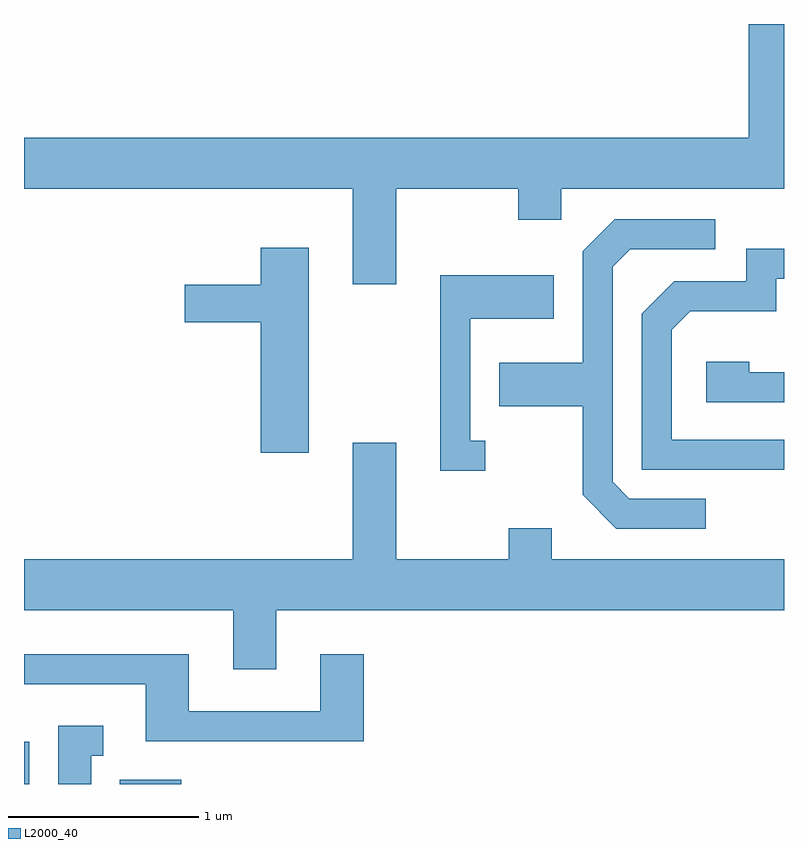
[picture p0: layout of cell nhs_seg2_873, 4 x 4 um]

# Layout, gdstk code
import gdstk
lib = gdstk.Library(unit=1e-6, precision=1e-09)
def R(c, l, rs):  # rectangles x0, y0, x1, y1
    for r in rs: c.add(gdstk.rectangle(r[:2], r[2:], *l))
def P(c, l, *ps):  # polygons
    for p in ps: c.add(gdstk.Polygon(p, *l))
L2000_40 = (2000, 40)

nhs_seg2_873 = lib.new_cell('nhs_seg2_873')
R(nhs_seg2_873, L2000_40, [(209.611,1091.802,209.639,1092.024), (210.116,1091.802,210.439,1091.824)])
P(nhs_seg2_873, L2000_40, [(211.569,1094.936),(212.211,1094.936),(212.211,1094.771),(212.439,1094.771),(212.439,1094.936),(213.611,1094.936),(213.611,1095.802),(213.426,1095.802),(213.426,1095.204),(209.611,1095.204),(209.611,1094.936),(211.341,1094.936),(211.341,1094.431),(211.569,1094.431)],
  [(213.198,1093.304),(212.797,1093.304),(212.709,1093.392),(212.709,1094.524),(212.802,1094.616),(213.248,1094.616),(213.248,1094.774),(212.719,1094.774),(212.551,1094.607),(212.551,1094.019),(212.111,1094.019),(212.111,1093.791),(212.551,1093.791),(212.551,1093.324),(212.729,1093.146),(213.198,1093.146)],
  [(211.109,1094.624),(210.856,1094.624),(210.856,1094.429),(210.456,1094.429),(210.456,1094.231),(210.856,1094.231),(210.856,1093.546),(211.109,1093.546)],
  [(213.611,1093.614),(213.019,1093.614),(213.019,1094.194),(213.117,1094.291),(213.569,1094.291),(213.569,1094.461),(213.611,1094.461),(213.611,1094.619),(213.411,1094.619),(213.411,1094.449),(213.034,1094.449),(212.861,1094.277),(212.861,1093.456),(213.611,1093.456)],
  [(212.038,1093.609),(211.959,1093.609),(211.959,1094.251),(212.399,1094.251),(212.399,1094.479),(211.801,1094.479),(211.801,1093.451),(212.038,1093.451)],
  [(213.611,1093.969),(213.429,1093.969),(213.429,1094.024),(213.201,1094.024),(213.201,1093.811),(213.611,1093.811)],
  [(210.939,1092.716),(213.611,1092.716),(213.611,1092.984),(212.389,1092.984),(212.389,1093.149),(212.161,1093.149),(212.161,1092.984),(211.569,1092.984),(211.569,1093.599),(211.341,1093.599),(211.341,1092.984),(209.611,1092.984),(209.611,1092.716),(210.711,1092.716),(210.711,1092.406),(210.939,1092.406)],
  [(211.399,1092.484),(211.171,1092.484),(211.171,1092.184),(210.479,1092.184),(210.479,1092.484),(209.611,1092.484),(209.611,1092.326),(210.251,1092.326),(210.251,1092.026),(211.399,1092.026)],
  [(209.964,1091.951),(210.028,1091.951),(210.028,1092.109),(209.791,1092.109),(209.791,1091.802),(209.964,1091.802)])

lib.write_gds('nhs_seg2_873.gds')
